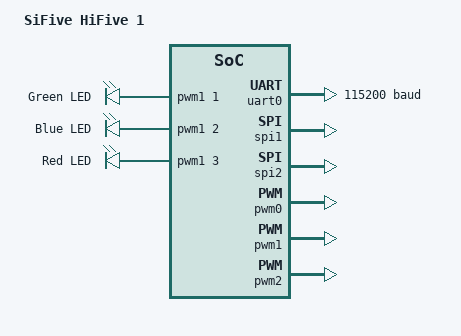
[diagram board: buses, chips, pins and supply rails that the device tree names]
/* Copyright (c) 2018 SiFive, Inc. */
/* SPDX-License-Identifier: Apache-2.0 */

/dts-v1/;

#include <sifive/riscv32-fe310.dtsi>
#include "hifive1-pinctrl.dtsi"

/ {
	model = "SiFive HiFive 1";
	compatible = "sifive,hifive1";
	aliases {
		pwm-led0 = &led0;
		pwm-led1 = &led1;
		pwm-led2 = &led2;
		watchdog0 = &wdog0;
	};

	chosen {
		zephyr,console = &uart0;
		zephyr,shell-uart = &uart0;
		zephyr,sram = &dtim;
		zephyr,flash = &flash0;
	};

	leds {
		compatible = "pwm-leds";
		led0: led_0 {
			pwms = <&pwm1 1 PWM_MSEC(20)>;
			label = "Green LED";
		};
		led1: led_1 {
			pwms = <&pwm1 2 PWM_MSEC(20)>;
			label = "Blue LED";
		};
		led2: led_2 {
			pwms = <&pwm1 3 PWM_MSEC(20)>;
			label = "Red LED";
		};
	};
};

&gpio0 {
	status = "okay";
};

&uart0 {
	status = "okay";
	current-speed = <115200>;
	pinctrl-0 = <&uart0_rx_default &uart0_tx_default>;
	pinctrl-names = "default";
};

/* disabled (used by Flash ROM by default) */
&spi0 {
	reg = <0x10014000 0x1000 0x20400000 0xc00000>;
	flash0: flash@0 {
		compatible = "issi,is25lp128", "jedec,spi-nor";
		status = "disabled";
		size = <134217728>;
		label = "FLASH0";
		jedec-id = [96 60 18];
		reg = <0>;
		spi-max-frequency = <133000000>;
	};
};

&spi1 {
	status = "okay";
	pinctrl-0 = <&spi1_cs0_default &spi1_cs2_default &spi1_cs3_default
		     &spi1_mosi_default &spi1_miso_default &spi1_sck_default>;
	pinctrl-names = "default";
};

&spi2 {
	status = "okay";
};

&pwm0 {
	status = "okay";
};

&pwm1 {
	status = "okay";
	pinctrl-0 = <&pwm1_1_default &pwm1_2_default &pwm1_3_default>;
	pinctrl-names = "default";
};

&pwm2 {
	status = "okay";
	pinctrl-0 = <&pwm2_1_default &pwm2_2_default &pwm2_3_default>;
	pinctrl-names = "default";
};
